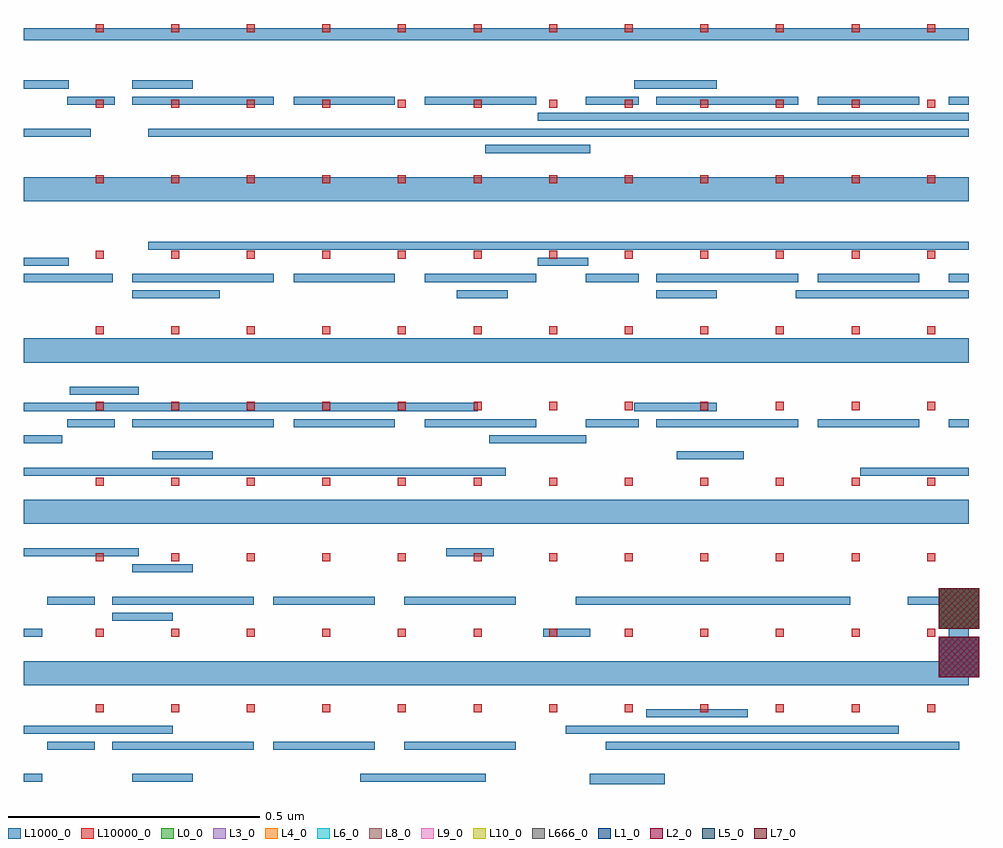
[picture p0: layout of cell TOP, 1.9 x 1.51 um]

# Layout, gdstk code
import gdstk
lib = gdstk.Library(unit=1e-6, precision=1e-09)
def R(c, l, rs):  # rectangles x0, y0, x1, y1
    for r in rs: c.add(gdstk.rectangle(r[:2], r[2:], *l))
def A(c, l, x, y, w, h, nx, ny, dx, dy):  # array of equal rectangles
    R(c, l, [(x+i*dx, y+j*dy, x+i*dx+w, y+j*dy+h) for i in range(nx) for j in range(ny)])
L0_0 = (0, 0)
L1_0 = (1, 0)
L2_0 = (2, 0)
L3_0 = (3, 0)
L4_0 = (4, 0)
L5_0 = (5, 0)
L6_0 = (6, 0)
L7_0 = (7, 0)
L8_0 = (8, 0)
L9_0 = (9, 0)
L10_0 = (10, 0)
L666_0 = (666, 0)
L1000_0 = (1000, 0)
L10000_0 = (10000, 0)

top = lib.new_cell('TOP')
R(top, L0_0, [(0.877,0.212,0.957,0.292), (0.877,0.308,0.957,0.388)])
R(top, L1_0, [(0.877,0.212,0.957,0.292)])
R(top, L2_0, [(0.877,0.212,0.957,0.292)])
R(top, L3_0, [(0.877,0.212,0.957,0.292), (0.877,0.308,0.957,0.388)])
R(top, L4_0, [(0.877,0.212,0.957,0.292), (0.877,0.308,0.957,0.388)])
R(top, L5_0, [(0.877,0.308,0.957,0.388)])
R(top, L6_0, [(0.877,0.212,0.957,0.292), (0.877,0.308,0.957,0.388)])
R(top, L7_0, [(0.877,0.308,0.957,0.388)])
R(top, L8_0, [(0.877,0.212,0.957,0.292), (0.877,0.308,0.957,0.388)])
R(top, L9_0, [(0.877,0.212,0.957,0.292), (0.877,0.308,0.957,0.388)])
R(top, L10_0, [(0.877,0.212,0.957,0.292), (0.877,0.308,0.957,0.388)])
R(top, L666_0, [(0.877,0.212,0.957,0.292), (0.877,0.308,0.957,0.388)])
A(top, L1000_0, -0.938, 0.196, 1.875, 0.048, 1, 4, 0, 0.32)
R(top, L1000_0, [(0.185,0,0.333,0.02), (-0.938,0.004,-0.902,0.02), (-0.723,0.004,-0.603,0.02), (-0.271,0.004,-0.022,0.02), (-0.892,0.068,-0.798,0.084), (-0.763,0.068,-0.482,0.084), (-0.443,0.068,-0.242,0.084), (-0.183,0.068,0.038,0.084), (0.216,0.068,0.918,0.084), (-0.938,0.1,-0.643,0.116), (0.137,0.1,0.798,0.116), (0.297,0.132,0.498,0.148), (0.897,0.26,0.937,0.34), (-0.938,0.292,-0.902,0.308), (0.092,0.292,0.186,0.308), (-0.763,0.324,-0.643,0.34), (-0.892,0.356,-0.798,0.372), (-0.763,0.356,-0.482,0.372), (-0.443,0.356,-0.242,0.372), (-0.183,0.356,0.038,0.372), (0.157,0.356,0.701,0.372), (0.816,0.356,0.937,0.372), (-0.723,0.42,-0.603,0.436), (-0.938,0.452,-0.71,0.468), (-0.1,0.452,-0.006,0.468), (-0.938,0.612,0.018,0.628), (0.721,0.612,0.937,0.628), (-0.683,0.644,-0.563,0.66), (0.357,0.644,0.49,0.66), (-0.938,0.676,-0.862,0.692), (-0.015,0.676,0.178,0.692), (-0.852,0.708,-0.758,0.724), (-0.723,0.708,-0.442,0.724), (-0.403,0.708,-0.202,0.724), (-0.143,0.708,0.078,0.724), (0.177,0.708,0.282,0.724), (0.317,0.708,0.598,0.724), (0.637,0.708,0.838,0.724), (0.897,0.708,0.937,0.724), (-0.938,0.74,-0.038,0.756), (0.273,0.74,0.437,0.756), (-0.847,0.772,-0.71,0.788), (-0.723,0.964,-0.55,0.98), (-0.079,0.964,0.022,0.98), (0.317,0.964,0.437,0.98), (0.593,0.964,0.937,0.98), (-0.938,0.996,-0.762,1.012), (-0.723,0.996,-0.442,1.012), (-0.403,0.996,-0.202,1.012), (-0.143,0.996,0.078,1.012), (0.177,0.996,0.282,1.012), (0.317,0.996,0.598,1.012), (0.637,0.996,0.838,1.012), (0.897,0.996,0.937,1.012), (-0.938,1.028,-0.849,1.044), (0.081,1.028,0.182,1.044), (-0.691,1.06,0.937,1.076), (-0.023,1.252,0.186,1.268), (-0.938,1.284,-0.806,1.3), (-0.691,1.284,0.937,1.3), (0.081,1.316,0.937,1.332), (-0.852,1.348,-0.758,1.364), (-0.723,1.348,-0.442,1.364), (-0.403,1.348,-0.202,1.364), (-0.143,1.348,0.078,1.364), (0.177,1.348,0.282,1.364), (0.317,1.348,0.598,1.364), (0.637,1.348,0.838,1.364), (0.897,1.348,0.937,1.364), (-0.938,1.38,-0.849,1.396), (-0.723,1.38,-0.603,1.396), (0.273,1.38,0.437,1.396), (-0.938,1.476,0.937,1.5)])
A(top, L10000_0, -0.796, 0.142, 0.016, 0.016, 12, 10, 0.15, 0.15)

lib.write_gds('TOP.gds')
